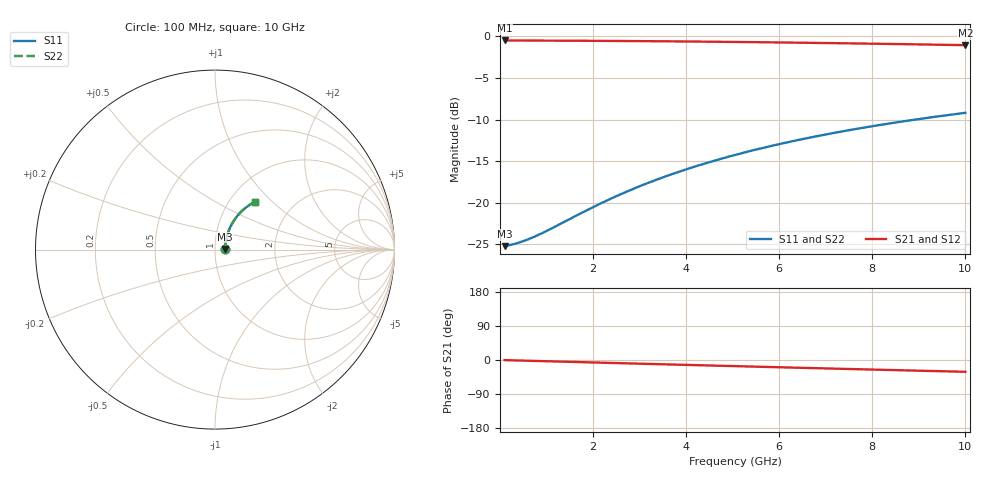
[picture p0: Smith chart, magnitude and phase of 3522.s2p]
# Hz S RI R 50.00
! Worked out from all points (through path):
!   100 points, 100 MHz to 10 GHz, reference 50 ohm
!   highest |S21| = -0.49 dB at 100 MHz (marker M1); lowest = -1.1 dB at 10 GHz (marker M2)
!   group delay of S21, straight-line fit = 8.66 ps
!   lowest |S11| = -25.2 dB at 100 MHz (marker M3), VSWR 1.12, Z = 55.8 + j0.388 ohm
!   |S11| at or under -10 dB: start of sweep to 8.928 GHz
!   |S22| runs from -25.2 to -9.2 dB; largest |S21 - S12| = 0
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1e8  0.0547 0.00346  0.9453 -0.00536  0.9453 -0.00536  0.0547 0.00346
3e8  0.0554 0.0104  0.9445 -0.0161  0.9445 -0.0161  0.0554 0.0104
4e8  0.0558 0.0138  0.9442 -0.0214  0.9442 -0.0214  0.0558 0.0138
5e8  0.0561 0.0173  0.9438 -0.0268  0.9438 -0.0268  0.0561 0.0173
7e8  0.0569 0.0241  0.943 -0.0374  0.943 -0.0374  0.0569 0.0241
1e9  0.0582 0.0344  0.9416 -0.0534  0.9416 -0.0534  0.0582 0.0344
1.8e9  0.0632 0.0614  0.9362 -0.0956  0.9362 -0.0956  0.0632 0.0614
2.2e9  0.0666 0.0747  0.9325 -0.1165  0.9325 -0.1165  0.0666 0.0747
2.6e9  0.0705 0.0878  0.9283 -0.1372  0.9283 -0.1372  0.0705 0.0878
3e9  0.0749 0.1007  0.9234 -0.1577  0.9234 -0.1577  0.0749 0.1007
3.4e9  0.0799 0.1133  0.9179 -0.178  0.9179 -0.178  0.0799 0.1133
3.8e9  0.0854 0.1257  0.9118 -0.1979  0.9118 -0.1979  0.0854 0.1257
4.2e9  0.0915 0.1377  0.9052 -0.2176  0.9052 -0.2176  0.0915 0.1377
4.6e9  0.098 0.1494  0.898 -0.2369  0.898 -0.2369  0.098 0.1494
5.1e9  0.1068 0.1635  0.8882 -0.2606  0.8882 -0.2606  0.1068 0.1635
5.5e9  0.1144 0.1744  0.8799 -0.2791  0.8799 -0.2791  0.1144 0.1744
5.9e9  0.1224 0.1849  0.871 -0.2972  0.871 -0.2972  0.1224 0.1849
6.7e9  0.1396 0.2046  0.852 -0.3323  0.852 -0.3323  0.1396 0.2046
7.5e9  0.1581 0.2225  0.8313 -0.3655  0.8313 -0.3655  0.1581 0.2225
8.4e9  0.1804 0.2404  0.8063 -0.4008  0.8063 -0.4008  0.1804 0.2404
9.2e9  0.2011 0.2543  0.7828 -0.4301  0.7828 -0.4301  0.2011 0.2543
1e10  0.2227 0.2662  0.7583 -0.4576  0.7583 -0.4576  0.2227 0.2662
